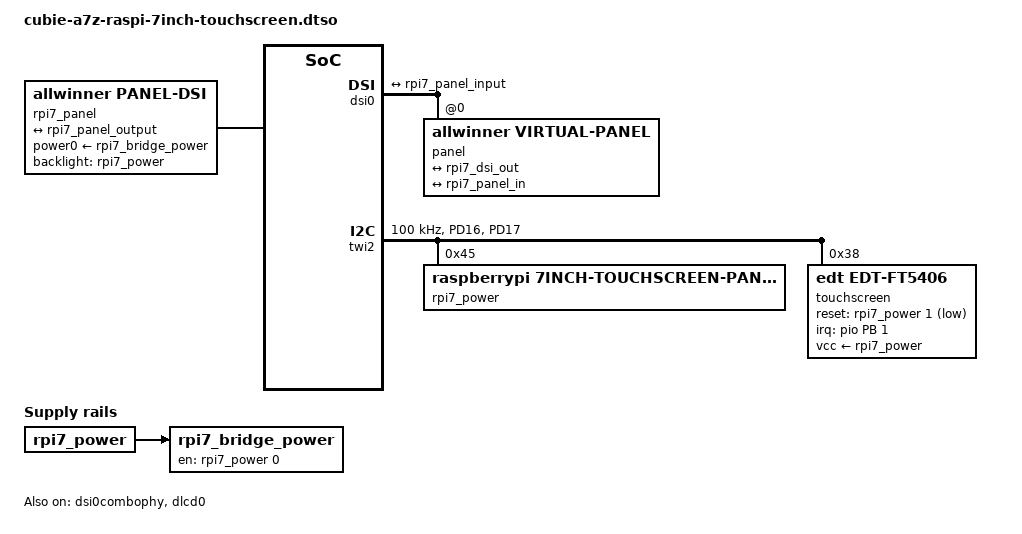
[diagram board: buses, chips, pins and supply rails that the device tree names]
/dts-v1/;
/plugin/;

#include <dt-bindings/gpio/gpio.h>
#include <dt-bindings/gpio/sun4i-gpio.h>
#include <dt-bindings/display/sunxi-lcd.h>
#include <dt-bindings/interrupt-controller/irq.h>

/* These standard DSI flags are not defined in sunxi-lcd.h. */
#define MIPI_DSI_MODE_VIDEO_SYNC_PULSE (1 << 2)
#define MIPI_DSI_MODE_VIDEO_HSE (1 << 4)
#define MIPI_DSI_MODE_LPM (1 << 11)

/ {
	metadata {
		title = "Enable Raspberry Pi 7-inch Display";
		compatible = "radxa,cubie-a7z";
		category = "display";
		exclusive = "dlcd0", "dsi0", "dsi0combophy", "twi2", "PB1",
			    "PD0", "PD1", "PD2", "PD3", "PD4", "PD5", "PD6", "PD7", "PD8", "PD9",
			    "PD16", "PD17";
		description = "Enable Raspberry Pi 7-inch Display.
Connect DSI0 and supply the display with 5V.
Connect the touch INT signal to physical pin 11 (PB1) of the 40-pin header.";
	};
};

&{/} {
	/* Power the ATTINY-controlled supply before releasing the bridge reset. */
	rpi7_bridge_power: regulator-rpi7-bridge {
		compatible = "regulator-fixed";
		regulator-name = "rpi7-bridge";
		vin-supply = <&rpi7_power>;
		gpio = <&rpi7_power 0 GPIO_ACTIVE_HIGH>;
		enable-active-high;
	};

	rpi7_panel: panel-rpi7 {
		compatible = "allwinner,panel-dsi";
		status = "okay";
		power-num = <1>;
		power0-supply = <&rpi7_bridge_power>;
		power-delay-ms = <100>;
		gpio-num = <0>;
		backlight = <&rpi7_power>;
		width-mm = <154>;
		height-mm = <86>;
		dsi,flags = <(MIPI_DSI_MODE_VIDEO | MIPI_DSI_MODE_VIDEO_SYNC_PULSE |
			      MIPI_DSI_MODE_VIDEO_HSE | MIPI_DSI_MODE_LPM)>;
		dsi,lanes = <1>;
		dsi,format = <0>;

		/* TC358762 generic writes: little-endian 16-bit address, 32-bit value. */
		panel-init-sequence = [
			29 00 06 10 02 03 00 00 00 /* DSI_LANEENABLE: clock and lane 0 */
			29 00 06 64 01 05 00 00 00 /* PPI_D0S_CLRSIPOCOUNT */
			29 00 06 68 01 05 00 00 00 /* PPI_D1S_CLRSIPOCOUNT */
			29 00 06 44 01 00 00 00 00 /* PPI_D0S_ATMR */
			29 00 06 48 01 00 00 00 00 /* PPI_D1S_ATMR */
			29 00 06 14 01 03 00 00 00 /* PPI_LPTXTIMECNT */
			29 00 06 50 04 00 00 00 00 /* SPICMR */
			29 00 06 20 04 50 01 1A 00 /* LCDCTRL: match the working TC358762 driver */
			29 64 06 64 04 0F 04 00 00 /* SYSCTRL */
			29 00 06 04 01 01 00 00 00 /* PPI_STARTPPI */
			29 64 06 04 02 01 00 00 00 /* DSI_STARTDSI */
		];

		display-timings {
			native-mode = <&rpi7_timing>;

			rpi7_timing: timing0 {
				clock-frequency = <30000000>;
				hactive = <800>;
				vactive = <480>;
				/* Keep 978 x 511 total; non-Burst HSA needs 10 packet overhead bytes. */
				hsync-len = <4>;
				hback-porch = <43>;
				hfront-porch = <131>;
				vsync-len = <2>;
				vback-porch = <22>;
				vfront-porch = <7>;
				hsync-active = <0>;
				vsync-active = <0>;
				de-active = <0>;
				pixelclk-active = <0>;
			};
		};

		port {
			rpi7_panel_in: endpoint {
				remote-endpoint = <&rpi7_panel_output>;
			};
		};
	};
};

&dsi0combophy {
	status = "okay";
};

&dlcd0 {
	status = "okay";
};

&dsi0 {
	status = "okay";
	#address-cells = <1>;
	#size-cells = <0>;
	pinctrl-0 = <&dsi0_4lane_pins_a>;
	pinctrl-1 = <&dsi0_4lane_pins_b>;
	pinctrl-names = "active", "sleep";

	ports {
		#address-cells = <1>;
		#size-cells = <0>;

		port@1 {
			reg = <1>;
			rpi7_dsi_out: endpoint {
				remote-endpoint = <&rpi7_panel_input>;
			};
		};
	};

	panel@0 {
		compatible = "allwinner,virtual-panel";
		status = "okay";
		reg = <0>;

		ports {
			#address-cells = <1>;
			#size-cells = <0>;

			port@0 {
				reg = <0>;
				#address-cells = <1>;
				#size-cells = <0>;

				rpi7_panel_input: endpoint@0 {
					reg = <0>;
					remote-endpoint = <&rpi7_dsi_out>;
				};
			};

			port@1 {
				reg = <1>;
				rpi7_panel_output: endpoint {
					remote-endpoint = <&rpi7_panel_in>;
				};
			};
		};
	};
};

&twi2 {
	#address-cells = <1>;
	#size-cells = <0>;
	clock-frequency = <100000>;
	pinctrl-0 = <&twi2_pins_default>;
	pinctrl-1 = <&twi2_pins_sleep>;
	pinctrl-names = "default", "sleep";
	/* Use engine mode for the ATTINY controller's separate I2C transactions. */
	twi_drv_used = <0>;
	no_suspend = <1>;
	twi-supply = <&reg_bldo2>;
	status = "okay";

	rpi7_power: regulator@45 {
		compatible = "raspberrypi,7inch-touchscreen-panel-regulator";
		reg = <0x45>;
		gpio-controller;
		#gpio-cells = <2>;
	};

	/* Touch INT is wired separately to 40-pin header pin 11 (PB1). */
	touchscreen@38 {
		compatible = "edt,edt-ft5406";
		reg = <0x38>;
		pinctrl-names = "default";
		pinctrl-0 = <&rpi7_touch_irq>;
		interrupt-parent = <&pio>;
		interrupts = <PB 1 IRQ_TYPE_EDGE_FALLING>;
		vcc-supply = <&rpi7_power>;
		reset-gpios = <&rpi7_power 1 GPIO_ACTIVE_LOW>;
		touchscreen-size-x = <800>;
		touchscreen-size-y = <480>;
		touchscreen-inverted-x;
		touchscreen-inverted-y;
		status = "okay";
	};
};

&pio {
	rpi7_touch_irq: rpi7-touch-irq {
		pins = "PB1";
		function = "irq";
		bias-pull-up;
	};

	twi2_pins_default: twi2@0 {
		pins = "PD16", "PD17";
		function = "twi2";
		drive-strength = <10>;
		bias-pull-up;
	};

	twi2_pins_sleep: twi2@1 {
		pins = "PD16", "PD17";
		function = "gpio_in";
	};
};
